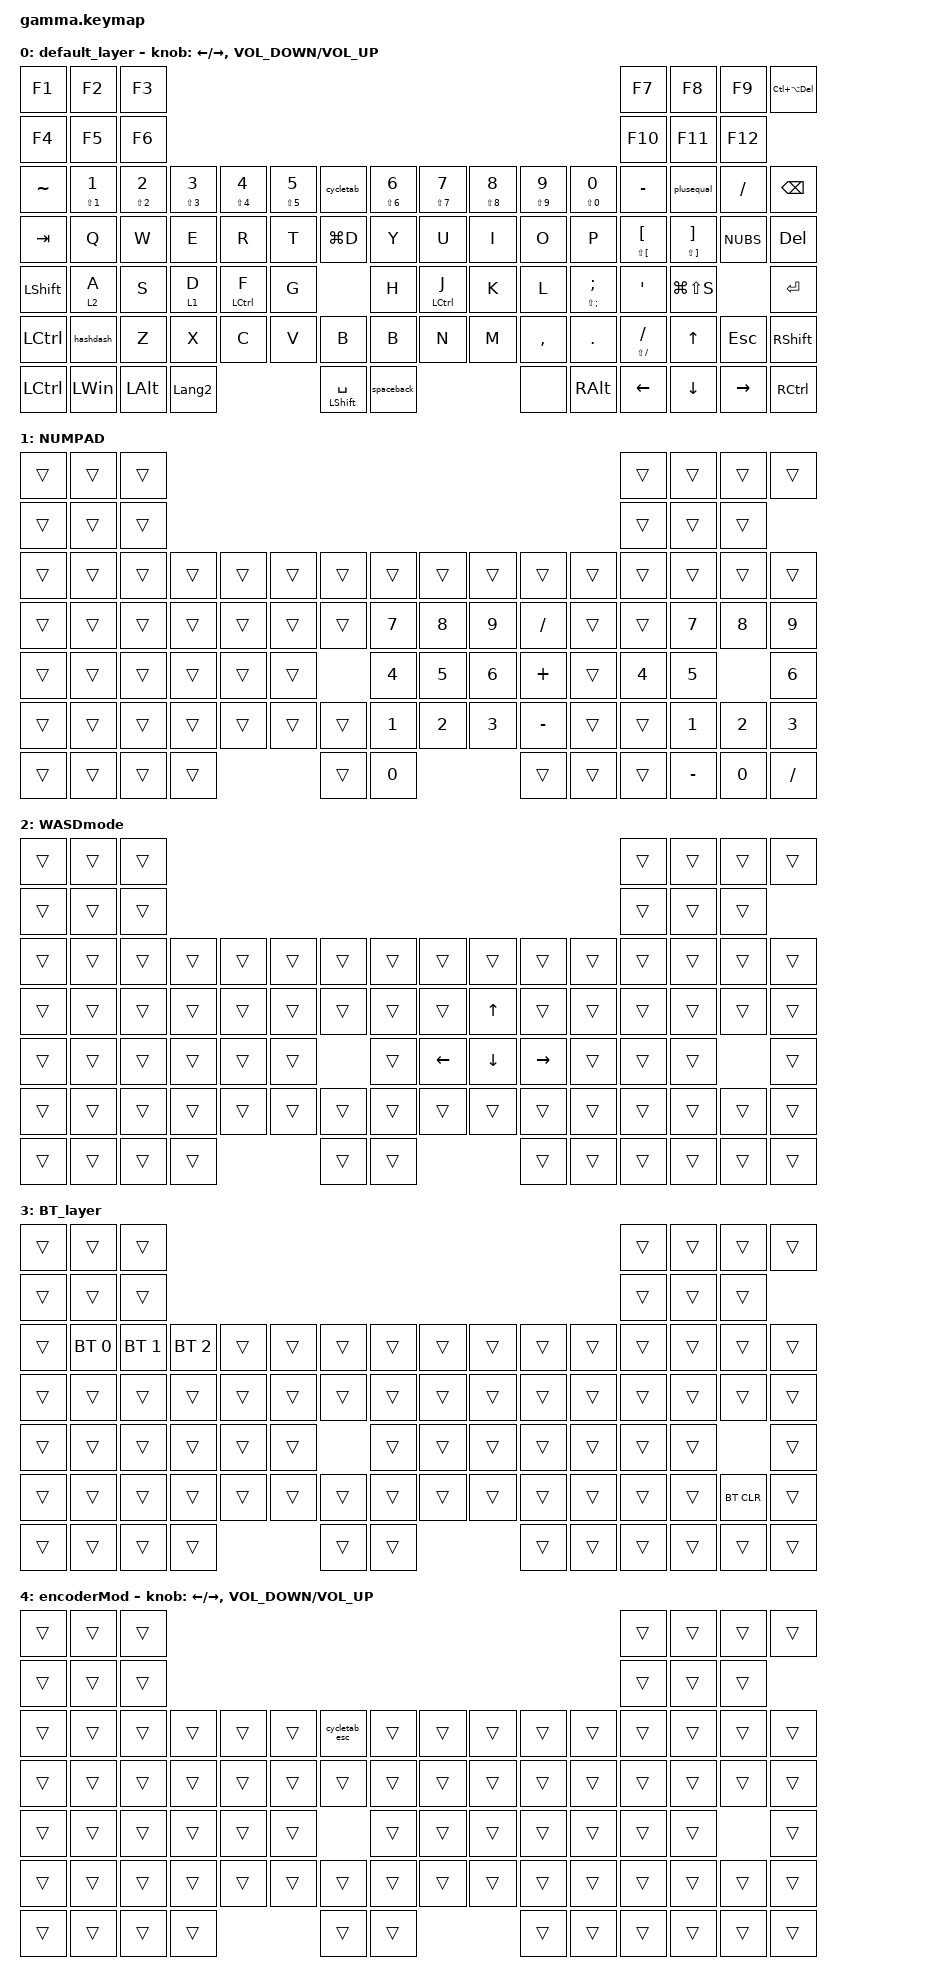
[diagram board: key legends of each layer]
#include <behaviors/mouse_keys.dtsi>
#include <behaviors.dtsi>
#include <dt-bindings/zmk/bt.h>
#include <dt-bindings/zmk/keys.h>
#include <dt-bindings/zmk/pointing.h>

#define DEFAULT 0

&mt { tapping-term-ms = <140>; };

&lt { tapping-term-ms = <200>; };

/ {
    combos {
        compatible = "zmk,combos";

        combo_space {
            timeout-ms = <50>;
            key-positions = <52 53>;
            bindings = <&kp SPACE>;
        };

        combo_bt {
            timeout-ms = <50>;
            key-positions = <0 5>;
            bindings = <&sl 3>;
        };

        combo_Rpara {
            timeout-ms = <50>;
            key-positions = <49 79>;
            bindings = <&kp RPAR>;
        };

        combo_hash {
            timeout-ms = <50>;
            key-positions = <32 31>;
            bindings = <&hashdash>;
        };

        combo_Lpara {
            timeout-ms = <50>;
            key-positions = <46 47>;
            bindings = <&kp LPAR>;
        };

        hr_enter {
            timeout-ms = <50>;
            key-positions = <54 55>;
            bindings = <&kp ENTER>;
        };

        hr_bkps {
            timeout-ms = <50>;
            key-positions = <53 54>;
            bindings = <&thumblang>;
        };

        hr2_lang1 {
            timeout-ms = <50>;
            key-positions = <80 53>;
            bindings = <&kp LANG1>;
        };

        middlehold {
            bindings = <&mkp MCLK>;
            key-positions = <79 48>;
        };

        righthold {
            bindings = <&mkp RCLK>;
            key-positions = <47 48>;
        };

        lefthold {
            bindings = <&mkp LCLK>;
            key-positions = <49 48>;
        };

        Copy {
            bindings = <&kp LC(C)>;
            key-positions = <79 48 49>;
        };

        Paste {
            bindings = <&kp LC(V)>;
            key-positions = <47 48 79>;
        };
    };

    behaviors {
        scroll_up_down: scroll_up_down {
            compatible = "zmk,behavior-sensor-rotate";
            #sensor-binding-cells = <0>;
            bindings = <&msc SCRL_UP>, <&msc SCRL_DOWN>;

            tap-ms = <250>;
        };

        gre: grave_esc {
            compatible = "zmk,behavior-tap-dance";
            label = "TAP_DANCE";
            #binding-cells = <0>;
            tapping-term-ms = <140>;
            bindings = <&mt LS(GRAVE) GRAVE>, <&kp ESC>;
        };

        enterspace: enterspace {
            compatible = "zmk,behavior-tap-dance";
            label = "TAP_DANCE_MOD_TAP";
            #binding-cells = <0>;
            tapping-term-ms = <150>;
            bindings = <&spaceback>, <&kp ENTER>;
        };

        spaceback: spaceback {
            compatible = "zmk,behavior-mod-morph";
            label = "spaceback";
            #binding-cells = <0>;
            bindings = <&kp SPACE>, <&mt LC(BACKSPACE) BACKSPACE>;

            mods = <MOD_LSFT>;
        };

        hashdash: hash_dash {
            compatible = "zmk,behavior-tap-dance";
            label = "hashdash";
            #binding-cells = <0>;
            tapping-term-ms = <250>;
            bindings = <&kp HASH>, <&kp MINUS>;
        };

        hrm_dot: jtodot {
            compatible = "zmk,behavior-tap-dance";
            label = "jtodot";
            #binding-cells = <0>;
            tapping-term-ms = <250>;
            bindings = <&kp J>, <&kp DOT>;
        };

        hrm_com: ktocom {
            compatible = "zmk,behavior-tap-dance";
            label = "ktocom";
            #binding-cells = <0>;
            tapping-term-ms = <250>;
            bindings = <&kp K>, <&kp COMMA>;
        };

        hrm_lang1: ftolang {
            compatible = "zmk,behavior-tap-dance";
            label = "ftolang";
            #binding-cells = <0>;
            tapping-term-ms = <200>;
            bindings = <&kp H>, <&kp LANG1>;
        };

        thumblang: thumblang {
            compatible = "zmk,behavior-mod-morph";
            label = "thumblang";
            #binding-cells = <0>;
            bindings = <&kp BACKSPACE>, <&kp DELETE>;

            mods = <MOD_LSFT>;
        };

        hotab: behavior_hotab {
            compatible = "zmk,behavior-hold-tap";
            label = "hotab";
            #binding-cells = <2>;
            flavor = "tap-preferred";
            tapping-term-ms = <150>;
            bindings = <&kp>, <&kp>;
        };

        hotab_sticky: hotab_sticky {
            compatible = "zmk,behavior-hold-tap";
            label = "HOTAB_STICKY";
            bindings = <&sk>, <&kp>;

            #binding-cells = <2>;
            flavor = "tap-preferred";
            tapping-term-ms = <250>;
        };

        hotog_sticky: hotog_sticky {
            compatible = "zmk,behavior-hold-tap";
            label = "HOTOG_STICKY";
            bindings = <&tog>, <&kp>;

            #binding-cells = <2>;
            flavor = "tap-preferred";
            tapping-term-ms = <250>;
        };

        plusequal: plusequal {
            compatible = "zmk,behavior-mod-morph";
            label = "PLUSEQUAL";
            #binding-cells = <0>;
            bindings = <&kp LS(EQUAL)>, <&kp EQUAL>;

            mods = <(MOD_LSFT)>;
        };

        enteresc: enteresc {
            compatible = "zmk,behavior-tap-dance";
            label = "ENTERESC";
            #binding-cells = <0>;
            tapping-term-ms = <250>;
            bindings = <&kp ENTER>, <&kp ESCAPE>;
        };
    };

    macros {
        mkp_keeplclk: mkp_keep {
            compatible = "zmk,behavior-macro";
            #binding-cells = <0>;
            bindings =
                <&macro_press>,
                <&mkp LCLK>,
                <&macro_pause_for_release>,
                <&macro_release>,
                <&mkp LCLK>;

            label = "MKP_KEEP";
        };

        mkp_keeprclk: new_macro {
            compatible = "zmk,behavior-macro";
            #binding-cells = <0>;
            bindings =
                <&macro_press>,
                <&mkp RCLK>,
                <&macro_pause_for_release>,
                <&macro_release>,
                <&mkp RCLK>;

            label = "NEW_MACRO";
        };

        mkp_keepmclk: new_macro2 {
            compatible = "zmk,behavior-macro";
            #binding-cells = <0>;
            bindings =
                <&macro_press>,
                <&mkp MCLK>,
                <&macro_pause_for_release>,
                <&macro_release>,
                <&mkp MCLK>;

            label = "NEW_MACRO2";
        };

        cycletab: cycletab {
            compatible = "zmk,behavior-macro";
            #binding-cells = <0>;
            bindings = <&kp LC(LA(TAB)) &tog 4>;
            label = "CYCLETAB";
        };

        cycletab_esc: cycletab_esc {
            compatible = "zmk,behavior-macro";
            #binding-cells = <0>;
            bindings =
                <&mt ESC ENTER>,
                <&macro_pause_for_release>,
                <&tog 4>,
                <&macro_release>;

            label = "CYCLETAB_ESC";
        };
    };

    keymap {
        compatible = "zmk,keymap";

        default_layer {
            bindings = <
&kp F1     &kp F2         &kp F3                                                                                                                                                                            &kp F7               &kp F8             &kp F9      &kp LC(LA(DELETE))
&kp F4     &kp F5         &kp F6                                                                                                                                                                            &kp F10              &kp F11            &kp F12
&kp TILDE  &mt LS(N1) N1  &mt LS(N2) N2  &mt LS(N3) N3   &mt LS(N4) N4          &mt LS(N5) N5  &cycletab             &mt LS(N6) N6  &mt LS(N7) N7          &mt LS(N8) N8  &mt LS(N9) N9  &mt LS(N0) N0      &kp MINUS            &plusequal         &kp SLASH   &kp BACKSPACE
&kp TAB    &kp Q          &kp W          &kp E           &kp R                  &kp T          &kp LG(D)             &kp Y          &kp U                  &kp I          &kp O          &kp P              &mt LS(LBKT) LBKT    &mt LS(RBKT) RBKT  &kp NUBS    &kp DEL
&kp LSHFT  &lt 2 A        &kp S          &lt 1 D         &hotab_sticky LCTRL F  &kp G                                &kp H          &hotab_sticky LCTRL J  &kp K          &kp L          &mt LS(SEMI) SEMI  &kp SQT              &kp LG(LS(S))                  &kp ENTER
&kp LCTRL  &hashdash      &kp Z          &kp X           &kp C                  &kp V          &kp B                 &kp B          &kp N                  &kp M          &kp COMMA      &kp DOT            &mt LS(SLASH) SLASH  &kp UP             &kp ESCAPE  &kp RSHFT
&kp LCTRL  &kp LWIN       &kp LALT       &kp LANGUAGE_2                                        &hotab LSHFT SPACE    &spaceback                                           &none          &kp RALT           &kp LEFT             &kp DOWN           &kp RIGHT   &kp RCTRL
            >;

            sensor-bindings =
                <&inc_dec_kp LEFT RIGHT>,
                <&inc_dec_kp C_VOLUME_DOWN C_VOLUME_UP>;
        };

        NUMPAD {
            bindings = <
&trans  &trans  &trans                                                                               &trans        &trans        &trans        &trans
&trans  &trans  &trans                                                                               &trans        &trans        &trans
&trans  &trans  &trans  &trans  &trans  &trans  &trans    &trans  &trans  &trans  &trans     &trans  &trans        &trans        &trans        &trans
&trans  &trans  &trans  &trans  &trans  &trans  &trans    &kp N7  &kp N8  &kp N9  &kp SLASH  &trans  &trans        &kp N7        &kp N8        &kp N9
&trans  &trans  &trans  &trans  &trans  &trans            &kp N4  &kp N5  &kp N6  &kp PLUS   &trans  &kp NUMBER_4  &kp N5                      &kp NUMBER_6
&trans  &trans  &trans  &trans  &trans  &trans  &trans    &kp N1  &kp N2  &kp N3  &kp MINUS  &trans  &trans        &kp NUMBER_1  &kp NUMBER_2  &kp NUMBER_3
&trans  &trans  &trans  &trans                  &trans    &kp N0                  &trans     &trans  &trans        &kp MINUS     &kp N0        &kp SLASH
            >;
        };

        WASDmode {
            bindings = <
&trans  &trans  &trans                                                                                       &trans  &trans  &trans  &trans
&trans  &trans  &trans                                                                                       &trans  &trans  &trans
&trans  &trans  &trans  &trans  &trans  &trans  &trans    &trans  &trans    &trans        &trans     &trans  &trans  &trans  &trans  &trans
&trans  &trans  &trans  &trans  &trans  &trans  &trans    &trans  &trans    &kp UP_ARROW  &trans     &trans  &trans  &trans  &trans  &trans
&trans  &trans  &trans  &trans  &trans  &trans            &trans  &kp LEFT  &kp DOWN      &kp RIGHT  &trans  &trans  &trans          &trans
&trans  &trans  &trans  &trans  &trans  &trans  &trans    &trans  &trans    &trans        &trans     &trans  &trans  &trans  &trans  &trans
&trans  &trans  &trans  &trans                  &trans    &trans                          &trans     &trans  &trans  &trans  &trans  &trans
            >;
        };

        BT_layer {
            bindings = <
&trans  &trans        &trans                                                                                        &trans  &trans  &trans      &trans
&trans  &trans        &trans                                                                                        &trans  &trans  &trans
&trans  &bt BT_SEL 0  &bt BT_SEL 1  &bt BT_SEL 2  &trans  &trans  &trans    &trans  &trans  &trans  &trans  &trans  &trans  &trans  &trans      &trans
&trans  &trans        &trans        &trans        &trans  &trans  &trans    &trans  &trans  &trans  &trans  &trans  &trans  &trans  &trans      &trans
&trans  &trans        &trans        &trans        &trans  &trans            &trans  &trans  &trans  &trans  &trans  &trans  &trans              &trans
&trans  &trans        &trans        &trans        &trans  &trans  &trans    &trans  &trans  &trans  &trans  &trans  &trans  &trans  &bt BT_CLR  &trans
&trans  &trans        &trans        &trans                        &trans    &trans                  &trans  &trans  &trans  &trans  &trans      &trans
            >;
        };

        encoderMod {
            bindings = <
&trans  &trans  &trans                                                                                   &trans  &trans  &trans  &trans
&trans  &trans  &trans                                                                                   &trans  &trans  &trans
&trans  &trans  &trans  &trans  &trans  &trans  &cycletab_esc    &trans  &trans  &trans  &trans  &trans  &trans  &trans  &trans  &trans
&trans  &trans  &trans  &trans  &trans  &trans  &trans           &trans  &trans  &trans  &trans  &trans  &trans  &trans  &trans  &trans
&trans  &trans  &trans  &trans  &trans  &trans                   &trans  &trans  &trans  &trans  &trans  &trans  &trans          &trans
&trans  &trans  &trans  &trans  &trans  &trans  &trans           &trans  &trans  &trans  &trans  &trans  &trans  &trans  &trans  &trans
&trans  &trans  &trans  &trans                  &trans           &trans                  &trans  &trans  &trans  &trans  &trans  &trans
            >;

            sensor-bindings =
                <&inc_dec_kp LEFT RIGHT>,
                <&inc_dec_kp C_VOLUME_DOWN C_VOLUME_UP>;
        };
    };
};
